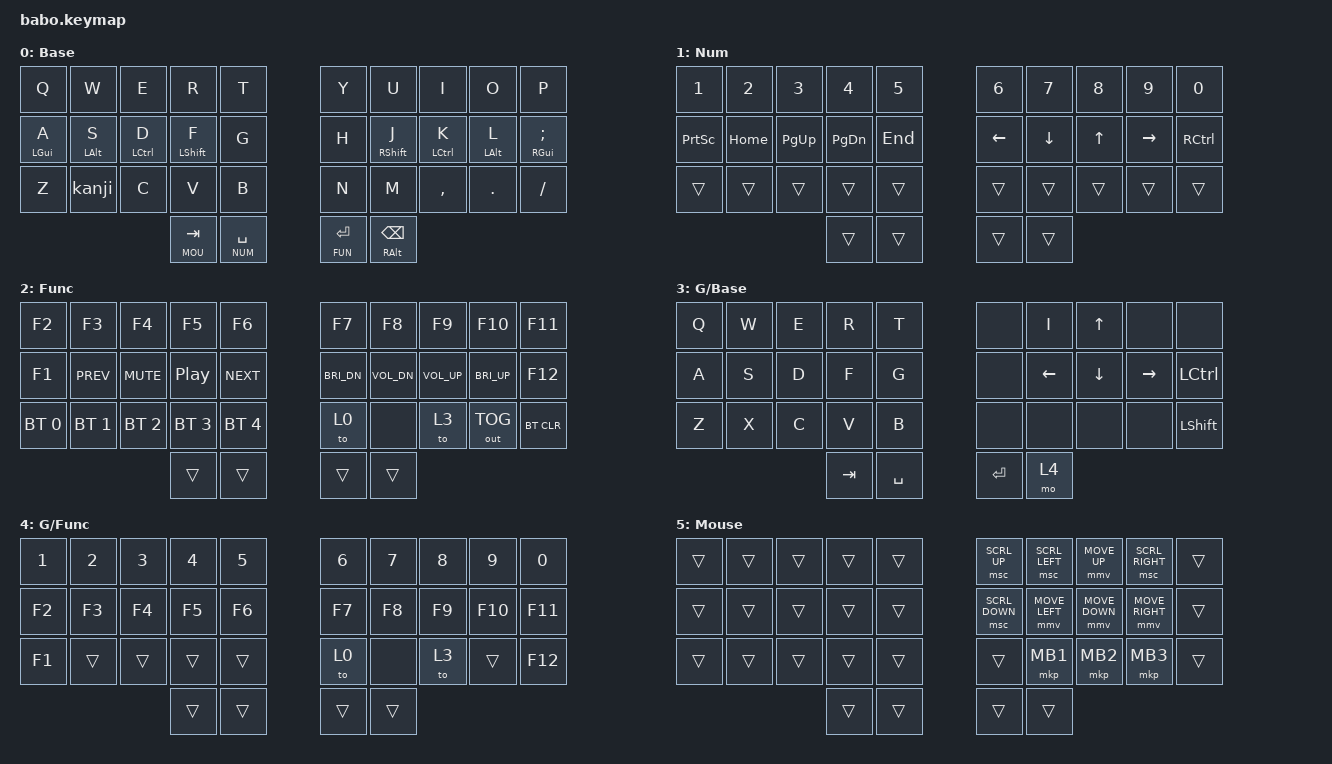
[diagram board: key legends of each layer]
/*
 * Copyright (c) 2020 The ZMK Contributors
 *
 * SPDX-License-Identifier: MIT
 */

#define ZMK_POINTING_DEFAULT_MOVE_VAL 1500  // default: 600
#define ZMK_POINTING_DEFAULT_SCRL_VAL 20    // default: 10

#include <behaviors.dtsi>
#include <dt-bindings/zmk/keys.h>
#include <dt-bindings/zmk/bt.h>
#include <dt-bindings/zmk/outputs.h>
#include <dt-bindings/zmk/rgb.h>
#include <dt-bindings/led/led.h>
#include <dt-bindings/zmk/mouse.h>

#define BAS 0 // mouse key layer
#define NUM 1 // mouse key layer
#define FUN 2 // mouse key layer
#define GAM 3 // mouse key layer
#define GAM_F 4
#define MOU 5

&mt {
        tapping-term-ms = <200>;
};

/ {
    behaviors {
        hm: homerow_mods {
            compatible = "zmk,behavior-hold-tap";
            #binding-cells = <2>;
            tapping-term-ms = <200>;
            quick-tap-ms = <200>;
            require-prior-idle-ms = <100>;
            flavor = "tap-preferred";
            bindings = <&kp>, <&kp>;
        };
        hm_l: homerow_mods_layer {
            compatible = "zmk,behavior-hold-tap";
            #binding-cells = <2>;
            tapping-term-ms = <200>;
            quick-tap-ms = <200>;
            require-prior-idle-ms = <100>;
            flavor = "tap-preferred";
            bindings = <&mo>, <&kp>;
        };
        td_mt: tap_dance_mod_tap {
                compatible = "zmk,behavior-tap-dance";
                #binding-cells = <0>;
                tapping-term-ms = <200>;
                bindings = <&hm LCTRL BSPC>, <&kp BSPC>;
        };
        kanji: kanji_morph {
            compatible = "zmk,behavior-mod-morph";
            #binding-cells = <0>;
            bindings = <&kp X>, <&kp GRAVE>;
            mods = <(MOD_RALT)>;
	    keep-mods = <(MOD_RALT)>;
        };
    };
    combos {
        compatible = "zmk,combos";
        combo_del {
            timeout-ms = <80>;
            key-positions = <0 10>;
            bindings = <&kp ESC>;
            layers = <0>;
        };
        combo_gui {
            timeout-ms = <80>;
            key-positions = <9 19>;
            bindings = <&kp DEL>;
            layers = <0>;
        };
        combo_shift {
            timeout-ms = <80>;
            key-positions = <13 16>;
            bindings = <&kt LSHFT>;
            layers = <0>;
        };
		// left combo
		combo_s1 { timeout-ms = <80>; key-positions = <31 5>; bindings = <&kp CARET>; layers = <0>; };
		combo_s2 { timeout-ms = <80>; key-positions = <31 6>; bindings = <&kp AMPS>; layers = <0>; };
		combo_s3 { timeout-ms = <80>; key-positions = <31 7>; bindings = <&kp KP_MULTIPLY>; layers = <0>; };
		combo_s4 { timeout-ms = <80>; key-positions = <31 8>; bindings = <&kp LPAR>; layers = <0>; };
		combo_s5 { timeout-ms = <80>; key-positions = <31 9>; bindings = <&kp RPAR>; layers = <0>; };

		combo_s6 { timeout-ms = <80>; key-positions = <31 15>; bindings = <&kp SQT>; layers = <0>; };
		combo_s7 { timeout-ms = <80>; key-positions = <31 16>; bindings = <&kp RPAR>; layers = <0>; };
		combo_s8 { timeout-ms = <80>; key-positions = <31 17>; bindings = <&kp RBRC>; layers = <0>; };
		combo_s9 { timeout-ms = <80>; key-positions = <31 18>; bindings = <&kp RBKT>; layers = <0>; };
		combo_s10 { timeout-ms = <80>; key-positions = <31 19>; bindings = <&kp DQT>; layers = <0>; };

		combo_s11 { timeout-ms = <80>; key-positions = <31 25>; bindings = <&kp GT>; layers = <0>; };
		combo_s12 { timeout-ms = <80>; key-positions = <31 26>; bindings = <&kp EQUAL>; layers = <0>; };
		combo_s13 { timeout-ms = <80>; key-positions = <31 27>; bindings = <&kp PLUS>; layers = <0>; };
		combo_s14 { timeout-ms = <80>; key-positions = <31 28>; bindings = <&kp BSLH>; layers = <0>; };
		combo_s15 { timeout-ms = <80>; key-positions = <31 29>; bindings = <&kp PIPE>; layers = <0>; };


		//right combo
		combo_s16 { timeout-ms = <80>; key-positions = <32 0>; bindings = <&kp EXCL>; layers = <0>; };
		combo_s17 { timeout-ms = <80>; key-positions = <32 1>; bindings = <&kp AT>; layers = <0>; };
		combo_s18 { timeout-ms = <80>; key-positions = <32 2>; bindings = <&kp HASH>; layers = <0>; };
		combo_s19 { timeout-ms = <80>; key-positions = <32 3>; bindings = <&kp DLLR>; layers = <0>; };
		combo_s20 { timeout-ms = <80>; key-positions = <32 4>; bindings = <&kp PRCNT>; layers = <0>; };

		combo_s21 { timeout-ms = <80>; key-positions = <32 10>; bindings = <&kp DQT>; layers = <0>; };
		combo_s22 { timeout-ms = <80>; key-positions = <32 11>; bindings = <&kp LBKT>; layers = <0>; };
		combo_s23 { timeout-ms = <80>; key-positions = <32 12>; bindings = <&kp LBRC>; layers = <0>; };
		combo_s24 { timeout-ms = <80>; key-positions = <32 13>; bindings = <&kp LPAR>; layers = <0>; };
		combo_s25 { timeout-ms = <80>; key-positions = <32 14>; bindings = <&kp SQT>; layers = <0>; };

		combo_s26 { timeout-ms = <80>; key-positions = <32 20>; bindings = <&kp TILDE>; layers = <0>; };
		combo_s27 { timeout-ms = <80>; key-positions = <32 21>; bindings = <&kp GRAVE>; layers = <0>; };
		combo_s28 { timeout-ms = <80>; key-positions = <32 22>; bindings = <&kp UNDER>; layers = <0>; };
		combo_s29 { timeout-ms = <80>; key-positions = <32 23>; bindings = <&kp MINUS>; layers = <0>; };
		combo_s30 { timeout-ms = <80>; key-positions = <32 24>; bindings = <&kp LT>; layers = <0>; };

    };

    keymap {
        compatible = "zmk,keymap";

        default_layer {
            // -----------------------------------------------------------------------------------------
            // |  TAB |  Q  |  W  |  E  |  R  |  T  |   |  Y  |  U   |  I  |  O  |  P  | BKSP |
            // | CTRL |  A  |  S  |  D  |  F  |  G  |   |  H  |  J   |  K  |  L  |  ;  |  '   |
            // | SHFT |  Z  |  X  |  C  |  V  |  B  |   |  N  |  M   |  ,  |  .  |  /  | ESC  |
            //                    | ALT | LWR | SPC |   | ENT | RSE  | ALT |
			display-name = "Base";	
            bindings = <
                &kp Q &kp W  &kp E        &kp R         &kp T                     &kp Y          &kp U          &kp I     &kp O   &kp P
                &hm LGUI A &hm LALT S  &hm LCTRL D &hm LSHFT F &kp G              &kp H          &hm RSHFT J    &hm LCTRL K     &hm LALT L &hm RGUI SEMI
                &kp Z &kanji &kp C        &kp V         &kp B                     &kp N          &kp M          &kp COMMA &kp DOT &kp FSLH
                                       &hm_l MOU TAB &hm_l NUM SPACE             &hm_l FUN RET &hm RALT BSPC
            >;
        };

        lower_layer {
            // -----------------------------------------------------------------------------------------
            // |  TAB |  1  |  2  |  3  |  4  |  5  |   |  6  |  7  |  8  |  9  |  0  | BKSP |
            // | CTRL |PSCRN| HOM | PUP | PUD | END |   | LFT | DWN |  UP | RGT |  `  |      |
            // | SHFT |     |     |     |     |     |   |     |     |     |     |     |      |
            //                    | GUI |     | SPC |   | ENT |     | GUI |
			display-name = "Num";
            bindings = <
                &kp N1    &kp N2   &kp N3    &kp N4    &kp N5      &kp N6   &kp N7   &kp N8 &kp N9    &kp N0    
                &kp PSCRN &kp HOME &kp PG_UP &kp PG_DN &kp END     &kp LEFT &kp DOWN &kp UP &kp RIGHT &kp RCTRL 
                &trans    &trans   &trans    &trans    &trans      &trans   &trans   &trans &trans    &trans   
                                             &trans    &trans      &trans   &trans  
            >;
        };

        super_layer {
            // -----------------------------------------------------------------------------------------
            // |  F1  |  F2 |  F3 |  F4 |  F5 |  F6 |   |  F7 |  F8 |  F9 | F10 | F11 | F12 |
            // |      | BT1 | BT2 | BT3 | BT4 | BT5 |   |     | RON | HUI | SAI | BRI |     |
            // |      | USB | BLE |     |     | CLR |   |     | ROF | HUD | SAD | BRD |     |
            //                    |     |     |     |   |     |     |    |
			display-name = "Func";
            bindings = <
                &kp F2       &kp F3       &kp F4       &kp F5       &kp F6              &kp F7       &kp F8       &kp F9       &kp F10      &kp F11    
                &kp F1       &kp C_PREV   &kp C_MUTE   &kp C_PP     &kp C_NEXT          &kp C_BRI_DN &kp C_VOL_DN &kp C_VOL_UP &kp C_BRI_UP &kp F12    
                &bt BT_SEL 0 &bt BT_SEL 1 &bt BT_SEL 2 &bt BT_SEL 3 &bt BT_SEL 4        &to 0        &none        &to 3        &out OUT_TOG &bt BT_CLR 
                                      &trans       &trans                     &trans       &trans
            >;
        };

        game_layer_base {
            // -----------------------------------------------------------------------------------------
            // |  F1  |  F2 |  F3 |  F4 |  F5 |  F6 |   |  F7 |  F8 |  F9 | F10 | F11 | F12 |
            // |      | BT1 | BT2 | BT3 | BT4 | BT5 |   |     | RON | HUI | SAI | BRI |     |
            // |      | USB | BLE |     |     | CLR |   |     | ROF | HUD | SAD | BRD |     |
            //                    |     |     |     |   |     |     |    |
			display-name = "G/Base";
            bindings = <  
                &kp Q &kp W &kp E   &kp R   &kp T        &none     &kp I    &kp UP   &none     &none 
                &kp A &kp S &kp D   &kp F   &kp G        &none     &kp LEFT &kp DOWN &kp RIGHT &kp LCTRL
                &kp Z &kp X &kp C   &kp V   &kp B        &none     &none    &none    &none     &kp LSHFT
                                    &kp TAB &kp SPACE    &kp ENTER &mo 4
            >;
        };

        game_layer_func {
            // -----------------------------------------------------------------------------------------
            // |  F1  |  F2 |  F3 |  F4 |  F5 |  F6 |   |  F7 |  F8 |  F9 | F10 | F11 | F12 |
            // |      | BT1 | BT2 | BT3 | BT4 | BT5 |   |     | RON | HUI | SAI | BRI |     |
            // |      | USB | BLE |     |     | CLR |   |     | ROF | HUD | SAD | BRD |     |
            //                    |     |     |     |   |     |     |    |
			display-name = "G/Func";
            bindings = <
                &kp N1 &kp N2 &kp N3 &kp N4 &kp N5   &kp N6 &kp N7 &kp N8 &kp N9 &kp N0 
                &kp F2 &kp F3 &kp F4 &kp F5 &kp F6   &kp F7 &kp F8 &kp F9 &kp F10 &kp F11 
                &kp F1 &trans &trans &trans &trans   &to 0  &none  &to 3  &trans &kp F12 
                                     &trans &trans   &trans &trans
            >;
        };

        mouse_layer_func {
            // -----------------------------------------------------------------------------------------
            // |  F1  |  F2 |  F3 |  F4 |  F5 |  F6 |   |  F7 |  F8 |  F9 | F10 | F11 | F12 |
            // |      | BT1 | BT2 | BT3 | BT4 | BT5 |   |     | RON | HUI | SAI | BRI |     |
            // |      | USB | BLE |     |     | CLR |   |     | ROF | HUD | SAD | BRD |     |
            //                    |     |     |     |   |     |     |    |
			display-name = "Mouse";
            bindings = <
                &trans &trans &trans &trans &trans   &msc SCRL_UP &msc SCRL_LEFT &mmv MOVE_UP &msc SCRL_RIGHT &trans
                &trans &trans &trans &trans &trans   &msc SCRL_DOWN &mmv MOVE_LEFT &mmv MOVE_DOWN &mmv MOVE_RIGHT &trans
                &trans &trans &trans &trans &trans   &trans &mkp MB1 &mkp MB2 &mkp MB3 &trans
                                     &trans &trans   &trans &trans
            >;
        };
    };
};
